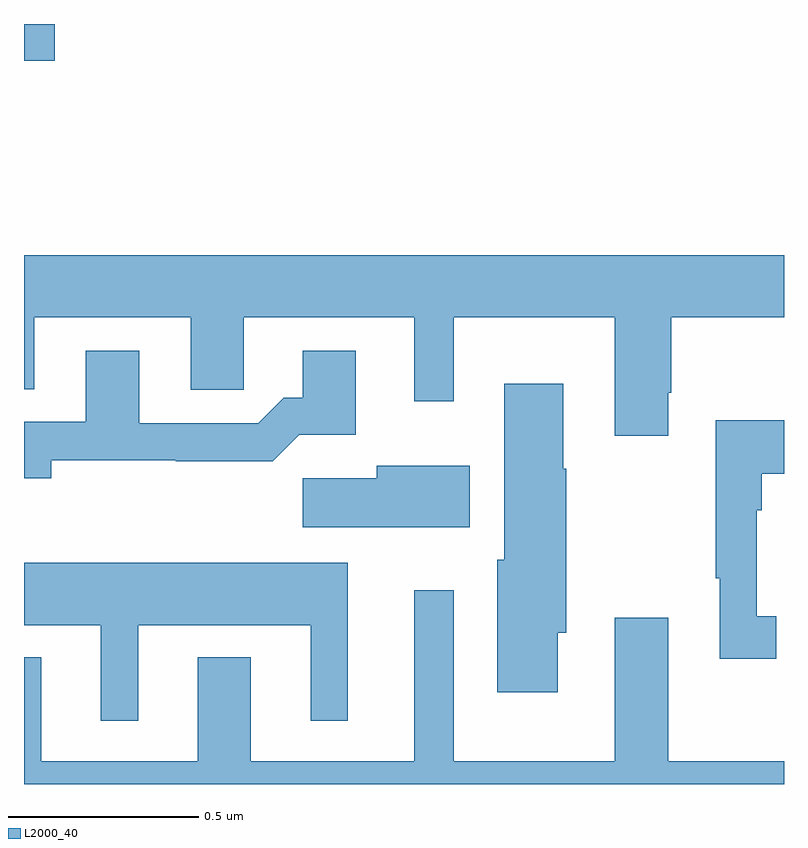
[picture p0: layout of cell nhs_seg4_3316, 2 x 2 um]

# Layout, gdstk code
import gdstk
lib = gdstk.Library(unit=1e-6, precision=1e-09)
def R(c, l, rs):  # rectangles x0, y0, x1, y1
    for r in rs: c.add(gdstk.rectangle(r[:2], r[2:], *l))
def P(c, l, *ps):  # polygons
    for p in ps: c.add(gdstk.Polygon(p, *l))
L2000_40 = (2000, 40)

nhs_seg4_3316 = lib.new_cell('nhs_seg4_3316')
R(nhs_seg4_3316, L2000_40, [(151,822.803,151.081,822.9)])
P(nhs_seg4_3316, L2000_40, [(152.695,821.929),(152.703,821.929),(152.703,822.128),(153,822.128),(153,822.292),(151,822.292),(151,821.939),(151.027,821.939),(151.027,822.128),(151.439,822.128),(151.439,821.938),(151.578,821.938),(151.578,822.128),(152.027,822.128),(152.027,821.907),(152.131,821.907),(152.131,822.128),(152.555,822.128),(152.555,821.817),(152.695,821.817)],
  [(151.072,821.752),(151.399,821.752),(151.399,821.75),(151.655,821.75),(151.724,821.819),(151.873,821.819),(151.873,822.04),(151.733,822.04),(151.733,821.917),(151.684,821.917),(151.617,821.85),(151.303,821.85),(151.303,822.04),(151.163,822.04),(151.163,821.853),(151,821.853),(151,821.705),(151.072,821.705)],
  [(152.404,821.298),(152.427,821.298),(152.427,821.729),(152.419,821.729),(152.419,821.953),(152.264,821.953),(152.264,821.49),(152.246,821.49),(152.246,821.142),(152.404,821.142)],
  [(152.98,821.342),(152.928,821.342),(152.928,821.621),(152.941,821.621),(152.941,821.717),(153,821.717),(153,821.857),(152.82,821.857),(152.82,821.441),(152.831,821.441),(152.831,821.229),(152.98,821.229)],
  [(152.173,821.737),(151.928,821.737),(151.928,821.705),(151.734,821.705),(151.734,821.576),(152.173,821.576)],
  [(151.3,821.318),(151.754,821.318),(151.754,821.067),(151.852,821.067),(151.852,821.482),(151,821.482),(151,821.318),(151.202,821.318),(151.202,821.067),(151.3,821.067)],
  [(153,820.96),(152.695,820.96),(152.695,821.338),(152.555,821.338),(152.555,820.96),(152.131,820.96),(152.131,821.41),(152.027,821.41),(152.027,820.96),(151.597,820.96),(151.597,821.233),(151.457,821.233),(151.457,820.96),(151.045,820.96),(151.045,821.233),(151,821.233),(151,820.9),(153,820.9)])

lib.write_gds('nhs_seg4_3316.gds')
